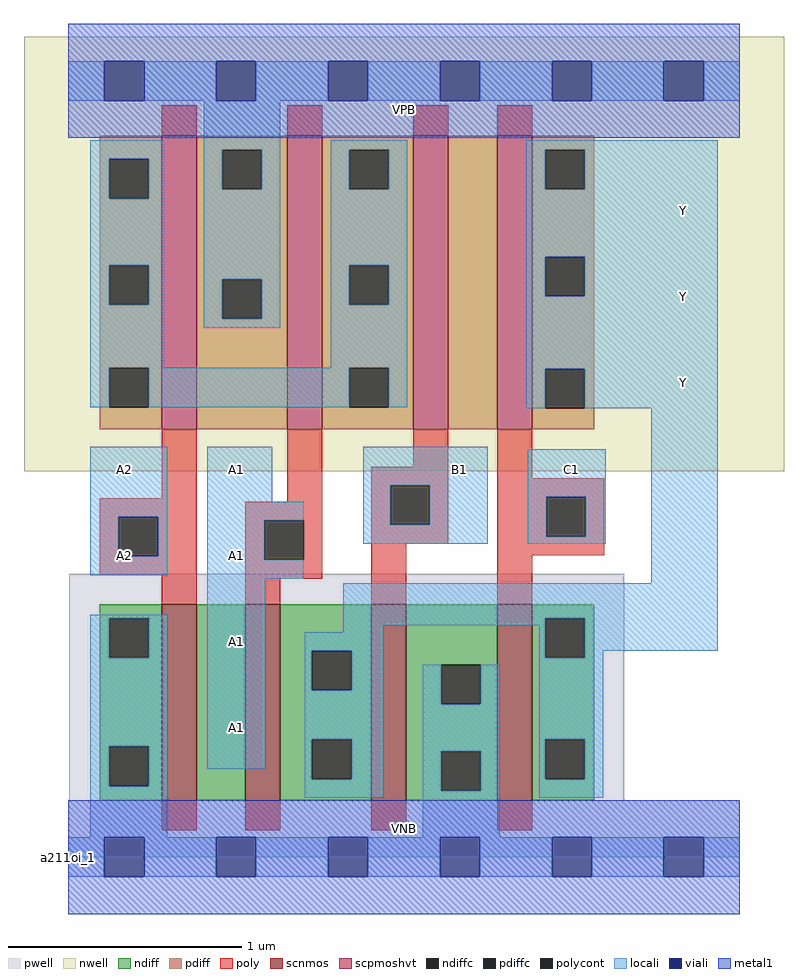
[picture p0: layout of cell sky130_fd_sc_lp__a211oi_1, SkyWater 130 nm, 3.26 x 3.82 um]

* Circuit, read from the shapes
.subckt sky130_fd_sc_lp__a211oi_1 A1 A2 B1 C1 VGND VNB VPB VPWR Y
XM1 n1 A2 VGND VNB sky130_fd_pr__nfet_01v8 w=0.84 l=0.15
XM2 Y A1 n1 VNB sky130_fd_pr__nfet_01v8 w=0.84 l=0.15
XM3 VGND B1 Y VNB sky130_fd_pr__nfet_01v8 w=0.84 l=0.15
XM4 Y C1 VGND VNB sky130_fd_pr__nfet_01v8 w=0.84 l=0.15
XM5 VPWR A2 n2 VPB sky130_fd_pr__pfet_01v8_hvt w=1.26 l=0.15
XM6 n2 A1 VPWR VPB sky130_fd_pr__pfet_01v8_hvt w=1.26 l=0.15
XM7 n3 B1 n2 VPB sky130_fd_pr__pfet_01v8_hvt w=1.26 l=0.15
XM8 Y C1 n3 VPB sky130_fd_pr__pfet_01v8_hvt w=1.26 l=0.15
.ends

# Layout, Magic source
magic
tech sky130A
magscale 1 2
<< nwell >>
rect -38 331 614 704
<< pwell >>
rect 1 49 477 243
rect 0 0 576 49
<< scnmos >>
rect 80 49 110 217
rect 152 49 182 217
rect 260 49 290 217
rect 368 49 398 217
<< scpmoshvt >>
rect 80 367 110 619
rect 188 367 218 619
rect 296 367 326 619
rect 368 367 398 619
<< ndiff >>
rect 27 205 80 217
rect 27 171 35 205
rect 69 171 80 205
rect 27 95 80 171
rect 27 61 35 95
rect 69 61 80 95
rect 27 49 80 61
rect 110 49 152 217
rect 182 177 260 217
rect 182 143 209 177
rect 243 143 260 177
rect 182 101 260 143
rect 182 67 209 101
rect 243 67 260 101
rect 182 49 260 67
rect 290 165 368 217
rect 290 131 320 165
rect 354 131 368 165
rect 290 91 368 131
rect 290 57 320 91
rect 354 57 368 91
rect 290 49 368 57
rect 398 205 451 217
rect 398 171 409 205
rect 443 171 451 205
rect 398 101 451 171
rect 398 67 409 101
rect 443 67 451 101
rect 398 49 451 67
<< pdiff >>
rect 27 599 80 619
rect 27 565 35 599
rect 69 565 80 599
rect 27 508 80 565
rect 27 474 35 508
rect 69 474 80 508
rect 27 420 80 474
rect 27 386 35 420
rect 69 386 80 420
rect 27 367 80 386
rect 110 607 188 619
rect 110 573 132 607
rect 166 573 188 607
rect 110 496 188 573
rect 110 462 132 496
rect 166 462 188 496
rect 110 367 188 462
rect 218 607 296 619
rect 218 573 241 607
rect 275 573 296 607
rect 218 508 296 573
rect 218 474 241 508
rect 275 474 296 508
rect 218 420 296 474
rect 218 386 241 420
rect 275 386 296 420
rect 218 367 296 386
rect 326 367 368 619
rect 398 607 451 619
rect 398 573 409 607
rect 443 573 451 607
rect 398 515 451 573
rect 398 481 409 515
rect 443 481 451 515
rect 398 419 451 481
rect 398 385 409 419
rect 443 385 451 419
rect 398 367 451 385
<< ndiffc >>
rect 35 171 69 205
rect 35 61 69 95
rect 209 143 243 177
rect 209 67 243 101
rect 320 131 354 165
rect 320 57 354 91
rect 409 171 443 205
rect 409 67 443 101
<< pdiffc >>
rect 35 565 69 599
rect 35 474 69 508
rect 35 386 69 420
rect 132 573 166 607
rect 132 462 166 496
rect 241 573 275 607
rect 241 474 275 508
rect 241 386 275 420
rect 409 573 443 607
rect 409 481 443 515
rect 409 385 443 419
<< poly >>
rect 80 619 110 645
rect 188 619 218 645
rect 296 619 326 645
rect 368 619 398 645
rect 80 308 110 367
rect 27 292 110 308
rect 188 305 218 367
rect 296 335 326 367
rect 27 258 43 292
rect 77 258 110 292
rect 27 242 110 258
rect 80 217 110 242
rect 152 289 218 305
rect 152 255 168 289
rect 202 255 218 289
rect 152 239 218 255
rect 260 319 326 335
rect 260 285 276 319
rect 310 285 326 319
rect 260 269 326 285
rect 368 325 398 367
rect 368 309 460 325
rect 368 275 410 309
rect 444 275 460 309
rect 152 217 182 239
rect 260 217 290 269
rect 368 259 460 275
rect 368 217 398 259
rect 80 23 110 49
rect 152 23 182 49
rect 260 23 290 49
rect 368 23 398 49
<< polycont >>
rect 43 258 77 292
rect 168 255 202 289
rect 276 285 310 319
rect 410 275 444 309
<< locali >>
rect 0 649 31 683
rect 65 649 127 683
rect 161 649 223 683
rect 257 649 319 683
rect 353 649 415 683
rect 449 649 511 683
rect 545 649 576 683
rect 19 599 82 615
rect 19 565 35 599
rect 69 565 82 599
rect 19 508 82 565
rect 19 474 35 508
rect 69 474 82 508
rect 19 420 82 474
rect 116 607 182 649
rect 116 573 132 607
rect 166 573 182 607
rect 116 496 182 573
rect 116 462 132 496
rect 166 462 182 496
rect 116 454 182 462
rect 225 607 291 615
rect 225 573 241 607
rect 275 573 291 607
rect 225 508 291 573
rect 225 474 241 508
rect 275 474 291 508
rect 225 420 291 474
rect 19 386 35 420
rect 69 386 241 420
rect 275 386 291 420
rect 393 607 557 615
rect 393 573 409 607
rect 443 573 557 607
rect 393 515 557 573
rect 393 481 409 515
rect 443 481 557 515
rect 393 419 557 481
rect 393 385 409 419
rect 443 385 557 419
rect 19 292 85 352
rect 19 258 43 292
rect 77 258 85 292
rect 19 242 85 258
rect 119 305 175 352
rect 253 319 360 352
rect 119 289 202 305
rect 119 255 168 289
rect 253 285 276 319
rect 310 285 360 319
rect 253 269 360 285
rect 394 309 461 350
rect 394 275 410 309
rect 444 275 461 309
rect 394 269 461 275
rect 119 239 202 255
rect 19 205 85 208
rect 19 171 35 205
rect 69 171 85 205
rect 19 95 85 171
rect 19 61 35 95
rect 69 61 85 95
rect 119 76 169 239
rect 500 235 557 385
rect 236 205 557 235
rect 236 199 409 205
rect 236 193 270 199
rect 203 177 270 193
rect 203 143 209 177
rect 243 143 270 177
rect 404 171 409 199
rect 443 177 557 205
rect 443 171 459 177
rect 203 101 270 143
rect 19 17 85 61
rect 203 67 209 101
rect 243 67 270 101
rect 203 51 270 67
rect 304 131 320 165
rect 354 131 370 165
rect 304 91 370 131
rect 304 57 320 91
rect 354 57 370 91
rect 304 17 370 57
rect 404 101 459 171
rect 404 67 409 101
rect 443 67 459 101
rect 404 51 459 67
rect 0 -17 31 17
rect 65 -17 127 17
rect 161 -17 223 17
rect 257 -17 319 17
rect 353 -17 415 17
rect 449 -17 511 17
rect 545 -17 576 17
<< viali >>
rect 31 649 65 683
rect 127 649 161 683
rect 223 649 257 683
rect 319 649 353 683
rect 415 649 449 683
rect 511 649 545 683
rect 31 -17 65 17
rect 127 -17 161 17
rect 223 -17 257 17
rect 319 -17 353 17
rect 415 -17 449 17
rect 511 -17 545 17
<< metal1 >>
rect 0 683 576 715
rect 0 649 31 683
rect 65 649 127 683
rect 161 649 223 683
rect 257 649 319 683
rect 353 649 415 683
rect 449 649 511 683
rect 545 649 576 683
rect 0 617 576 649
rect 0 17 576 49
rect 0 -17 31 17
rect 65 -17 127 17
rect 161 -17 223 17
rect 257 -17 319 17
rect 353 -17 415 17
rect 449 -17 511 17
rect 545 -17 576 17
rect 0 -49 576 -17
<< labels >>
flabel pwell s 0 0 576 49 0 FreeSans 200 0 0 0 VNB
port 6 nsew ground bidirectional
flabel nwell s 0 617 576 666 0 FreeSans 200 0 0 0 VPB
port 7 nsew power bidirectional
rlabel comment s 0 0 0 0 4 a211oi_1
flabel metal1 s 0 617 576 666 0 FreeSans 340 0 0 0 VPWR
port 8 nsew power bidirectional
flabel metal1 s 0 0 576 49 0 FreeSans 340 0 0 0 VGND
port 5 nsew ground bidirectional
flabel locali s 127 94 161 128 0 FreeSans 340 0 0 0 A1
port 1 nsew signal input
flabel locali s 127 168 161 202 0 FreeSans 340 0 0 0 A1
port 1 nsew signal input
flabel locali s 127 242 161 276 0 FreeSans 340 0 0 0 A1
port 1 nsew signal input
flabel locali s 127 316 161 350 0 FreeSans 340 0 0 0 A1
port 1 nsew signal input
flabel locali s 511 390 545 424 0 FreeSans 340 0 0 0 Y
port 9 nsew signal output
flabel locali s 511 464 545 498 0 FreeSans 340 0 0 0 Y
port 9 nsew signal output
flabel locali s 511 538 545 572 0 FreeSans 340 0 0 0 Y
port 9 nsew signal output
flabel locali s 31 242 65 276 0 FreeSans 340 0 0 0 A2
port 2 nsew signal input
flabel locali s 31 316 65 350 0 FreeSans 340 0 0 0 A2
port 2 nsew signal input
flabel locali s 319 316 353 350 0 FreeSans 340 0 0 0 B1
port 3 nsew signal input
flabel locali s 415 316 449 350 0 FreeSans 340 0 0 0 C1
port 4 nsew signal input
<< properties >>
string LEFsite unit
string LEFclass CORE
string FIXED_BBOX 0 0 576 666
string GDS_FILE $PDKPATH/libs.ref/sky130_fd_sc_lp/gds/sky130_fd_sc_lp.gds
string LEFsymmetry X Y R90
string GDS_END 213646
string GDS_START 207526
<< end >>
